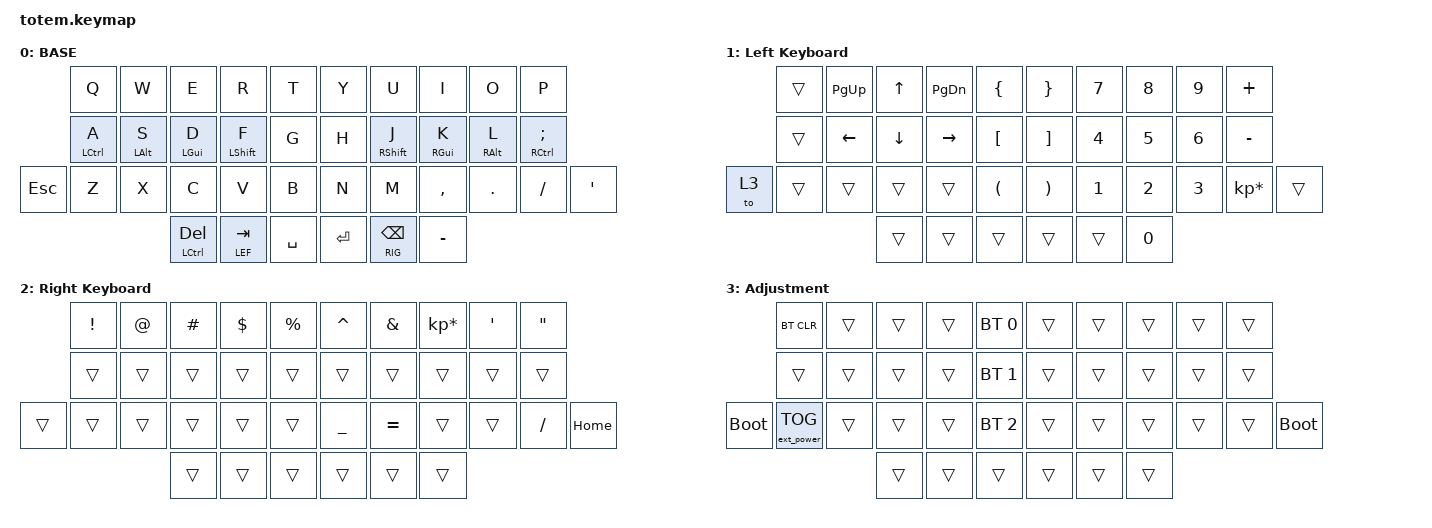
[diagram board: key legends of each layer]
// ▄▄▄▄▄▄▄▄▄▄▄▄▄▄▄▄▄▄▄▄▄▄▄▄▄▄▄▄▄▄▄▄▄▄▄▄▄▄▄▄▄▄▄▄▄▄▄▄▄▄▄▄▄▄▄▄▄▄▄▄▄▄ //
//
//                ▀▀▀▀▀     ▀▀▀▀▀          ▀▀█▀▀                  //
//                ▄▀▀▀▄  ▄  ▄▀▀▀▄  ▄  ▄▀▀▀▄  █  ▄▀▀▀▄             //
//                █   █  █  █   █  █  █   █  █  █   █             //
//                 ▀▀▀   █   ▀▀▀   █   ▀▀▀   ▀   ▀▀▀              //
//                       █      ▄▄▄█▄▄▄    █   █                  //
//                       ▀      █  █  █     █▄█                   //
//                     ▀▀▀▀▀    █  █  █      ▀                    //
//                              ▀  ▀  ▀                           //
//
// ▄▄▄▄▄▄▄▄▄▄▄▄▄▄▄▄▄▄▄▄▄▄▄▄▄▄▄▄▄▄▄▄▄▄▄▄▄▄▄▄▄▄▄▄▄▄▄▄▄▄▄▄▄▄▄▄▄▄▄▄▄▄ //

#include <behaviors.dtsi>
#include <dt-bindings/zmk/keys.h>
#include <dt-bindings/zmk/bt.h>

#define BASE 0
#define LOWER  1
#define RAISE  2
#define ADJ  3

&mt {
    quick-tap-ms = <100>;
    global-quick-tap;
    flavor = "tap-preferred";
    tapping-term-ms = <170>;
};

&lt {
    tapping-term-ms = <240>;
    flavor = "balanced";
    quick-tap-ms = <150>;
};

/ {
    combos {
        compatible = "zmk,combos";
        combo_esc {
            timeout-ms = <50>;
            key-positions = <0 1>;
            bindings = <&kp ESC>;
        };
    };

    behaviors {
        hm: homerow_mods {
            compatible = "zmk,behavior-hold-tap";
            label = "HOMEROW_MODS";
            #binding-cells = <2>;
            flavor = "tap-preferred";
            tapping-term-ms = <200>;
            quick-tap-ms = <125>;
            global-quick-tap;
            bindings = <&kp>, <&kp>;
        };
    };

    keymap {
        compatible = "zmk,keymap";

// ▄▄▄▄▄▄▄▄▄▄▄▄▄▄▄▄▄▄▄▄▄▄▄▄▄▄▄▄▄▄▄▄▄▄▄▄▄▄▄▄▄▄▄▄▄▄▄▄▄▄▄▄▄▄▄▄▄▄▄▄▄▄▄▄▄▄▄▄▄▄▄▄▄▄▄▄▄

        base_layer {
            label = "BASE";

//             ┏━━━━━━━━━━━┳━━━━━━━━━━┳━━━━━━━━━━━┳━━━━━━━━━━━┳━━━━━━━━━━━┓   ┏━━━━━━━━━━━┳━━━━━━━━━━━┳━━━━━━━━━━━┳━━━━━━━━━━━┳━━━━━━━━━━┓
//             ┃     Q      ┃     W     ┃      E     ┃      R     ┃      T     ┃   ┃      Y     ┃      U     ┃      I     ┃      O     ┃      P    ┃
//             ┣━━━━━━━━━━━╋━━━━━━━━━━╋━━━━━━━━━━━╋━━━━━━━━━━━╋━━━━━━━━━━━┫   ┣━━━━━━━━━━━╋━━━━━━━━━━━╋━━━━━━━━━━━╋━━━━━━━━━━━╋━━━━━━━━━━┫
//             ┃      A     ┃     S     ┃      D     ┃      F     ┃      G     ┃   ┃      H     ┃      J     ┃      K     ┃      L     ┃     ;     ┃
// ┏━━━━━━━━━━╋━━━━━━━━━━━╋━━━━━━━━━━╋━━━━━━━━━━━╋━━━━━━━━━━━╋━━━━━━━━━━━┫   ┣━━━━━━━━━━━╋━━━━━━━━━━━╋━━━━━━━━━━━╋━━━━━━━━━━━╋━━━━━━━━━━╋━━━━━━━━━┓
// ┃   ESC     ┃      Z     ┃     X     ┃      C     ┃      V     ┃      B     ┃   ┃      N     ┃      M     ┃      ,     ┃      .     ┃     /     ┃    '     ┃
// ┗━━━━━━━━━━┻━━━━━━━━━━━┻━━━━━━━━━━╋━━━━━━━━━━━╋━━━━━━━━━━━╋━━━━━━━━━━━┫   ┣━━━━━━━━━━━╋━━━━━━━━━━━╋━━━━━━━━━━━╋━━━━━━━━━━━┻━━━━━━━━━━┻━━━━━━━━━┛
//                                      ┃ LCTRL/DEL  ┃ LOWER / TAB ┃    SPC     ┃   ┃   ENTER    ┃ RAISE/BSPC ┃      -     ┃
//                                      ┗━━━━━━━━━━━┻━━━━━━━━━━━┻━━━━━━━━━━━┛   ┗━━━━━━━━━━━┻━━━━━━━━━━━┻━━━━━━━━━━━┛

            bindings = <
// ╷           ╷            ╷           ╷            ╷            ╷           ╷   ╷            ╷             ╷            ╷           ╷           ╷           ╷

                &kp Q        &kp W       &kp E        &kp R        &kp T            &kp Y        &kp U         &kp I        &kp O       &kp P
                &hm LCTRL A  &hm LALT S  &hm LGUI D   &hm LSHIFT F &kp G            &kp H        &hm RSHFT J   &hm RGUI K   &hm RALT L  &hm RCTRL SEMICOLON
    &kp ESCAPE  &kp Z        &kp X       &kp C        &kp V        &kp B            &kp N        &kp M         &kp COMMA    &kp DOT     &kp SLASH   &kp APOSTROPHE
                                        &mt LCTRL DEL &lt LEF TAB  &kp SPACE        &kp RET      &lt RIG BSPC  &kp MINUS
            >;
        };

        LOWER {
            label = "Left Keyboard";
            bindings = <
                &trans  &kp PAGE_UP   &kp UP_ARROW   &kp PG_DN  &kp LBRC  &kp RBRC  &kp NUMBER_7  &kp NUMBER_8  &kp NUMBER_9         &kp PLUS
                &trans     &kp LEFT       &kp DOWN   &kp RIGHT  &kp LBKT  &kp RBKT  &kp NUMBER_4  &kp NUMBER_5  &kp NUMBER_6        &kp MINUS
        &to 3   &trans       &trans         &trans      &trans  &kp LPAR  &kp RPAR  &kp NUMBER_1  &kp NUMBER_2  &kp NUMBER_3  &kp KP_MULTIPLY  &trans
                                            &trans      &trans    &trans    &trans        &trans  &kp NUMBER_0
            >;
        };

        RAISE {
            label = "Right Keyboard";
            bindings = <
        &kp EXCL  &kp AT  &kp HASH  &kp DOLLAR  &kp PERCENT  &kp CARET  &kp AMPERSAND  &kp KP_ASTERISK  &kp SQT    &kp DQT
          &trans  &trans    &trans      &trans       &trans     &trans         &trans           &trans   &trans     &trans
&trans    &trans  &trans    &trans      &trans       &trans  &kp UNDER      &kp EQUAL           &trans   &trans  &kp SLASH  &kp HOME
                            &trans      &trans       &trans     &trans         &trans           &trans
            >;
        };


        ADJUST {
            label = "Adjustment";
            bindings = <
                    &bt BT_CLR    &trans      &trans      &trans  &bt BT_SEL 0      &trans   &trans      &trans       &trans    &trans
                        &trans    &trans      &trans      &trans  &bt BT_SEL 1      &trans   &trans      &trans       &trans    &trans
&bootloader  &ext_power EP_TOG    &trans      &trans      &trans  &bt BT_SEL 2      &trans   &trans      &trans       &trans    &trans  &bootloader
                                              &trans      &trans        &trans      &trans   &trans      &trans
            >;
        };

    };
};
